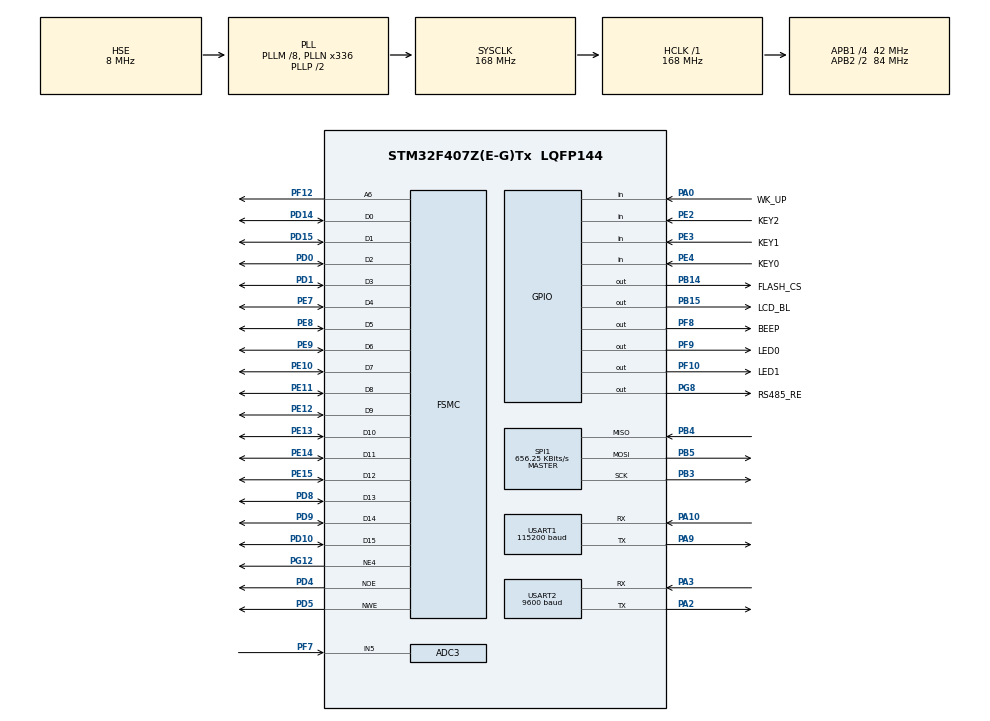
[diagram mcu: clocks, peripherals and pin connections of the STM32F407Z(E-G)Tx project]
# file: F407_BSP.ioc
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ADC3.Channel-0\#ChannelRegularConversion=ADC_CHANNEL_5
ADC3.DMAContinuousRequests=ENABLE
ADC3.ExternalTrigConv=ADC_EXTERNALTRIGCONV_T2_TRGO
ADC3.NbrOfConversionFlag=1
ADC3.Rank-0\#ChannelRegularConversion=1
ADC3.SamplingTime-0\#ChannelRegularConversion=ADC_SAMPLETIME_3CYCLES
Dma.ADC3.1.Direction=DMA_PERIPH_TO_MEMORY
Dma.ADC3.1.FIFOMode=DMA_FIFOMODE_DISABLE
Dma.ADC3.1.Instance=DMA2_Stream0
Dma.ADC3.1.MemDataAlignment=DMA_MDATAALIGN_HALFWORD
Dma.ADC3.1.MemInc=DMA_MINC_ENABLE
Dma.ADC3.1.Mode=DMA_CIRCULAR
Dma.ADC3.1.PeriphDataAlignment=DMA_PDATAALIGN_HALFWORD
Dma.ADC3.1.PeriphInc=DMA_PINC_DISABLE
Dma.ADC3.1.Priority=DMA_PRIORITY_LOW
Dma.Request0=USART1_RX
Dma.Request1=ADC3
Dma.Request2=USART2_RX
Dma.USART1_RX.0.Direction=DMA_PERIPH_TO_MEMORY
Dma.USART1_RX.0.FIFOMode=DMA_FIFOMODE_DISABLE
Dma.USART1_RX.0.Instance=DMA2_Stream2
Dma.USART1_RX.0.MemDataAlignment=DMA_MDATAALIGN_BYTE
Dma.USART1_RX.0.MemInc=DMA_MINC_ENABLE
Dma.USART1_RX.0.Mode=DMA_CIRCULAR
Dma.USART1_RX.0.PeriphDataAlignment=DMA_PDATAALIGN_BYTE
Dma.USART1_RX.0.PeriphInc=DMA_PINC_DISABLE
Dma.USART1_RX.0.Priority=DMA_PRIORITY_LOW
Dma.USART2_RX.2.Direction=DMA_PERIPH_TO_MEMORY
Dma.USART2_RX.2.FIFOMode=DMA_FIFOMODE_DISABLE
Dma.USART2_RX.2.Instance=DMA1_Stream5
Dma.USART2_RX.2.MemDataAlignment=DMA_MDATAALIGN_BYTE
Dma.USART2_RX.2.MemInc=DMA_MINC_ENABLE
Dma.USART2_RX.2.Mode=DMA_CIRCULAR
Dma.USART2_RX.2.PeriphDataAlignment=DMA_PDATAALIGN_BYTE
Dma.USART2_RX.2.PeriphInc=DMA_PINC_DISABLE
Dma.USART2_RX.2.Priority=DMA_PRIORITY_LOW
FSMC.AddressHoldTime4=0
FSMC.AddressSetupTime4=9
FSMC.DataSetupTime4=30
FSMC.ExtendedAddressHoldTime4=0
FSMC.ExtendedAddressSetupTime4=9
FSMC.ExtendedDataSetupTime4=9
FSMC.ExtendedMode4=FSMC_EXTENDED_MODE_ENABLE
Mcu.Family=STM32F4
Mcu.Name=STM32F407Z(E-G)Tx
Mcu.Package=LQFP144
NVIC.ADC_IRQn=true\:6\:0\:true\:false\:true\:true\:true\:true
NVIC.DMA1_Stream5_IRQn=true\:0\:0\:false\:false\:true\:false\:true\:true
NVIC.DMA2_Stream0_IRQn=true\:6\:0\:true\:false\:true\:false\:true\:true
NVIC.DMA2_Stream2_IRQn=true\:6\:0\:true\:false\:true\:false\:true\:true
NVIC.PriorityGroup=NVIC_PRIORITYGROUP_4
NVIC.TIM6_DAC_IRQn=true\:15\:0\:false\:false\:true\:false\:true\:true
NVIC.TimeBase=TIM6_DAC_IRQn
NVIC.TimeBaseIP=TIM6
NVIC.USART1_IRQn=true\:6\:0\:true\:false\:true\:true\:true\:true
NVIC.USART2_IRQn=true\:6\:0\:true\:false\:true\:true\:true\:true
PA0-WKUP.GPIO_Label=WK_UP
PA0-WKUP.GPIO_PuPd=GPIO_PULLDOWN
PA0-WKUP.Signal=GPIO_Input
PA10.Mode=Asynchronous
PA10.Signal=USART1_RX
PA13.Mode=Serial_Wire
PA13.Signal=SYS_JTMS-SWDIO
PA14.Mode=Serial_Wire
PA14.Signal=SYS_JTCK-SWCLK
PA2.Mode=Asynchronous
PA2.Signal=USART2_TX
PA3.Mode=Asynchronous
PA3.Signal=USART2_RX
PA9.Mode=Asynchronous
PA9.Signal=USART1_TX
PB14.GPIO_Label=FLASH_CS
PB14.PinState=GPIO_PIN_SET
PB14.Signal=GPIO_Output
PB15.GPIO_Label=LCD_BL
PB15.GPIO_Speed=GPIO_SPEED_FREQ_LOW
PB15.PinState=GPIO_PIN_RESET
PB15.Signal=GPIO_Output
PB3.Mode=Full_Duplex_Master
PB3.Signal=SPI1_SCK
PB4.Mode=Full_Duplex_Master
PB4.Signal=SPI1_MISO
PB5.Mode=Full_Duplex_Master
PB5.Signal=SPI1_MOSI
PD0.GPIO_Speed=GPIO_SPEED_FREQ_VERY_HIGH
PD0.Signal=FSMC_D2_DA2
PD1.GPIO_Speed=GPIO_SPEED_FREQ_VERY_HIGH
PD1.Signal=FSMC_D3_DA3
PD10.GPIO_Speed=GPIO_SPEED_FREQ_VERY_HIGH
PD10.Signal=FSMC_D15_DA15
PD14.GPIO_Speed=GPIO_SPEED_FREQ_VERY_HIGH
PD14.Signal=FSMC_D0_DA0
PD15.GPIO_Speed=GPIO_SPEED_FREQ_VERY_HIGH
PD15.Signal=FSMC_D1_DA1
PD4.GPIO_Speed=GPIO_SPEED_FREQ_VERY_HIGH
PD4.Signal=FSMC_NOE
PD5.GPIO_Speed=GPIO_SPEED_FREQ_VERY_HIGH
PD5.Signal=FSMC_NWE
PD8.GPIO_Speed=GPIO_SPEED_FREQ_VERY_HIGH
PD8.Signal=FSMC_D13_DA13
PD9.GPIO_Speed=GPIO_SPEED_FREQ_VERY_HIGH
PD9.Signal=FSMC_D14_DA14
PE10.GPIO_Speed=GPIO_SPEED_FREQ_VERY_HIGH
PE10.Signal=FSMC_D7_DA7
PE11.GPIO_Speed=GPIO_SPEED_FREQ_VERY_HIGH
PE11.Signal=FSMC_D8_DA8
PE12.GPIO_Speed=GPIO_SPEED_FREQ_VERY_HIGH
PE12.Signal=FSMC_D9_DA9
PE13.GPIO_Speed=GPIO_SPEED_FREQ_VERY_HIGH
PE13.Signal=FSMC_D10_DA10
PE14.GPIO_Speed=GPIO_SPEED_FREQ_VERY_HIGH
PE14.Signal=FSMC_D11_DA11
PE15.GPIO_Speed=GPIO_SPEED_FREQ_VERY_HIGH
PE15.Signal=FSMC_D12_DA12
PE2.GPIO_Label=KEY2
PE2.GPIO_PuPd=GPIO_PULLUP
PE2.Signal=GPIO_Input
PE3.GPIO_Label=KEY1
PE3.GPIO_PuPd=GPIO_PULLUP
PE3.Signal=GPIO_Input
PE4.GPIO_Label=KEY0
PE4.GPIO_PuPd=GPIO_PULLUP
PE4.Signal=GPIO_Input
PE7.GPIO_Speed=GPIO_SPEED_FREQ_VERY_HIGH
PE7.Signal=FSMC_D4_DA4
PE8.GPIO_Speed=GPIO_SPEED_FREQ_VERY_HIGH
PE8.Signal=FSMC_D5_DA5
PE9.GPIO_Speed=GPIO_SPEED_FREQ_VERY_HIGH
PE9.Signal=FSMC_D6_DA6
PF10.GPIO_Label=LED1
PF10.GPIO_Speed=GPIO_SPEED_FREQ_LOW
PF10.PinState=GPIO_PIN_SET
PF10.Signal=GPIO_Output
PF12.GPIO_Speed=GPIO_SPEED_FREQ_VERY_HIGH
PF12.Signal=FSMC_A6
PF7.Mode=IN5
PF7.Signal=ADC3_IN5
PF8.GPIO_Label=BEEP
PF8.GPIO_ModeDefaultOutputPP=GPIO_MODE_OUTPUT_PP
PF8.GPIO_PuPd=GPIO_NOPULL
PF8.PinState=GPIO_PIN_RESET
PF8.Signal=GPIO_Output
PF9.GPIO_Label=LED0
PF9.GPIO_Speed=GPIO_SPEED_FREQ_LOW
PF9.PinState=GPIO_PIN_SET
PF9.Signal=GPIO_Output
PG12.GPIO_Speed=GPIO_SPEED_FREQ_VERY_HIGH
PG12.Mode=NorPsramChipSelect4_4
PG12.Signal=FSMC_NE4
PG8.GPIO_Label=RS485_RE
PG8.Signal=GPIO_Output
PH0-OSC_IN.Mode=HSE-External-Oscillator
PH0-OSC_IN.Signal=RCC_OSC_IN
PH1-OSC_OUT.Mode=HSE-External-Oscillator
PH1-OSC_OUT.Signal=RCC_OSC_OUT
ProjectManager.HeapSize=0x200
ProjectManager.StackSize=0x400
ProjectManager.TargetToolchain=CMake
RCC.48MHZClocksFreq_Value=48000000
RCC.AHBFreq_Value=168000000
RCC.APB1CLKDivider=RCC_HCLK_DIV4
RCC.APB1Freq_Value=42000000
RCC.APB1TimFreq_Value=84000000
RCC.APB2CLKDivider=RCC_HCLK_DIV2
RCC.APB2Freq_Value=84000000
RCC.APB2TimFreq_Value=168000000
RCC.CortexFreq_Value=168000000
RCC.HCLKFreq_Value=168000000
RCC.HSE_VALUE=8000000
RCC.HSI_VALUE=16000000
RCC.LSE_VALUE=32768
RCC.PLLM=8
RCC.PLLN=336
RCC.PLLP=RCC_PLLP_DIV2
RCC.PLLQ=7
RCC.PLLSourceVirtual=RCC_PLLSOURCE_HSE
RCC.RCC_RTC_Clock_Source=RCC_RTCCLKSOURCE_LSI
RCC.RCC_RTC_Clock_SourceVirtual=RCC_RTCCLKSOURCE_LSI
RCC.RCC_RTC_Clock_Source_FROM_HSE=RCC_RTCCLKSOURCE_HSE_DIV8
RCC.SYSCLKFreq_VALUE=168000000
RCC.SYSCLKSource=RCC_SYSCLKSOURCE_PLLCLK
RCC.VCOOutputFreq_Value=336000000
SH.FSMC_A6.0=FSMC_A6,A6_4
SH.FSMC_D0_DA0.0=FSMC_D0,16b-d4
SH.FSMC_D10_DA10.0=FSMC_D10,16b-d4
SH.FSMC_D11_DA11.0=FSMC_D11,16b-d4
SH.FSMC_D12_DA12.0=FSMC_D12,16b-d4
SH.FSMC_D13_DA13.0=FSMC_D13,16b-d4
SH.FSMC_D14_DA14.0=FSMC_D14,16b-d4
SH.FSMC_D15_DA15.0=FSMC_D15,16b-d4
SH.FSMC_D1_DA1.0=FSMC_D1,16b-d4
SH.FSMC_D2_DA2.0=FSMC_D2,16b-d4
SH.FSMC_D3_DA3.0=FSMC_D3,16b-d4
SH.FSMC_D4_DA4.0=FSMC_D4,16b-d4
SH.FSMC_D5_DA5.0=FSMC_D5,16b-d4
SH.FSMC_D6_DA6.0=FSMC_D6,16b-d4
SH.FSMC_D7_DA7.0=FSMC_D7,16b-d4
SH.FSMC_D8_DA8.0=FSMC_D8,16b-d4
SH.FSMC_D9_DA9.0=FSMC_D9,16b-d4
SH.FSMC_NOE.0=FSMC_NOE,Lcd4
SH.FSMC_NWE.0=FSMC_NWE,Lcd4
SPI1.BaudRatePrescaler=SPI_BAUDRATEPRESCALER_128
SPI1.CLKPhase=SPI_PHASE_2EDGE
SPI1.CLKPolarity=SPI_POLARITY_HIGH
SPI1.CalculateBaudRate=656.25 KBits/s
SPI1.Direction=SPI_DIRECTION_2LINES
SPI1.Mode=SPI_MODE_MASTER
SPI1.VirtualType=VM_MASTER
TIM2.Period=99
TIM2.Prescaler=8399
TIM2.TIM_MasterOutputTrigger=TIM_TRGO_UPDATE
TIM2.TIM_MasterSlaveMode=TIM_MASTERSLAVEMODE_DISABLE
USART1.BaudRate=115200
USART1.VirtualMode=VM_ASYNC
USART2.BaudRate=9600
USART2.VirtualMode=VM_ASYNC
VP_SYS_VS_tim6.Mode=TIM6
VP_TIM2_VS_ClockSourceINT.Mode=Internal
board=custom

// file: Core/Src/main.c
/* USER CODE BEGIN Header */
/**
 ******************************************************************************
 * @file           : main.c
 * @brief          : Main program body
 ******************************************************************************
 * @attention
 *
 * Copyright (c) 2026 STMicroelectronics.
 * All rights reserved.
 *
 * This software is licensed under terms that can be found in the LICENSE file
 * in the root directory of this software component.
 * If no LICENSE file comes with this software, it is provided AS-IS.
 *
 ******************************************************************************
 */
/* USER CODE END Header */
#include "main.h"
#include "adc.h"
#include "dma.h"
#include "spi.h"
#include "tim.h"
#include "usart.h"
#include "gpio.h"
#include "fsmc.h"

/* USER CODE BEGIN Includes */
#include <stdio.h>

#include "BSP/LCD/lcd.h"
#include "BSP/LED/bsp_led.h"
#include "BSP/UART/bsp_uart.h"
#include "BSP/KEY/bsp_key.h"
#include "BSP/BEEP/bsp_beep.h"
#include "BSP/ADC/bsp_adc.h"
#include "BSP/FLASH/bsp_flash.h"
#include "BSP/RS485/bsp_rs485.h"
#include "Protocol/modbus_rtu.h"
#include "Protocol/modbus_crc.h"

#include "App/app_task.h"
#include "App/app_sensor.h"

/* USER CODE END Includes */

void SystemClock_Config(void);

int main(void)
{

  /* USER CODE BEGIN 1 */
  uint32_t display_count = 0;
  char lcd_id_text[24];
  /* USER CODE END 1 */

  /* MCU Configuration--------------------------------------------------------*/

  /* Reset of all peripherals, Initializes the Flash interface and the Systick. */
  HAL_Init();

  /* Configure the system clock */
  SystemClock_Config();

  /* Initialize all configured peripherals */
  MX_GPIO_Init();
  MX_DMA_Init();
  MX_FSMC_Init();
  MX_USART1_UART_Init();
  MX_ADC3_Init();
  MX_TIM2_Init();
  MX_SPI1_Init();
  MX_USART2_UART_Init();
  /* USER CODE BEGIN 2 */
  BSP_LED_Init();
  BSP_KEY_Init();
  BSP_BEEP_Init();
  if (BSP_ADC_Init() != HAL_OK)
  {
    Error_Handler();
  }

  /* 启动 DMA + IDLE 接收 */
  if (BSP_UART_Init() != HAL_OK)
  {
    Error_Handler();
  }

  BSP_UART_Print("USART1 DMA IDLE Ready\r\n");
  lcd_init();
  printf("LCD ID: 0x%04X\r\n", (unsigned int)lcddev.id);

  g_back_color = WHITE;
  lcd_clear(WHITE);
  lcd_put_text(1, 1, "STM32F407 Explorer", RED);
  lcd_put_text(2, 1, "LCD HAL template", BLUE);
  snprintf(lcd_id_text, sizeof(lcd_id_text), "LCD ID: %04X", (unsigned int)lcddev.id);
  lcd_put_text(3, 1, lcd_id_text, BLACK);
  lcd_put_text(4, 1, "Count: ", BLACK);

  BSP_LED_Init();
  BSP_RS485_Init();

  /* 启动 FreeRTOS 任务 */
  APP_Task_Init();

  /* USER CODE END 2 */

  /* Infinite loop */
  while (1)
  {

  }
}

void SystemClock_Config(void)
{
  RCC_OscInitTypeDef RCC_OscInitStruct = {0};
  RCC_ClkInitTypeDef RCC_ClkInitStruct = {0};

  /** Configure the main internal regulator output voltage
   */
  __HAL_RCC_PWR_CLK_ENABLE();
  __HAL_PWR_VOLTAGESCALING_CONFIG(PWR_REGULATOR_VOLTAGE_SCALE1);

  /** Initializes the RCC Oscillators according to the specified parameters
   * in the RCC_OscInitTypeDef structure.
   */
  RCC_OscInitStruct.OscillatorType = RCC_OSCILLATORTYPE_HSE;
  RCC_OscInitStruct.HSEState = RCC_HSE_ON;
  RCC_OscInitStruct.PLL.PLLState = RCC_PLL_ON;
  RCC_OscInitStruct.PLL.PLLSource = RCC_PLLSOURCE_HSE;
  RCC_OscInitStruct.PLL.PLLM = 8;
  RCC_OscInitStruct.PLL.PLLN = 336;
  RCC_OscInitStruct.PLL.PLLP = RCC_PLLP_DIV2;
  RCC_OscInitStruct.PLL.PLLQ = 7;
  if (HAL_RCC_OscConfig(&RCC_OscInitStruct) != HAL_OK)
  {
    Error_Handler();
  }

  /** Initializes the CPU, AHB and APB buses clocks
   */
  RCC_ClkInitStruct.ClockType = RCC_CLOCKTYPE_HCLK | RCC_CLOCKTYPE_SYSCLK | RCC_CLOCKTYPE_PCLK1 | RCC_CLOCKTYPE_PCLK2;
  RCC_ClkInitStruct.SYSCLKSource = RCC_SYSCLKSOURCE_PLLCLK;
  RCC_ClkInitStruct.AHBCLKDivider = RCC_SYSCLK_DIV1;
  RCC_ClkInitStruct.APB1CLKDivider = RCC_HCLK_DIV4;
  RCC_ClkInitStruct.APB2CLKDivider = RCC_HCLK_DIV2;

  if (HAL_RCC_ClockConfig(&RCC_ClkInitStruct, FLASH_LATENCY_5) != HAL_OK)
  {
    Error_Handler();
  }
}

void HAL_TIM_PeriodElapsedCallback(TIM_HandleTypeDef *htim)
{
  if (htim->Instance == TIM6)
  {
    HAL_IncTick();
  }
}

void Error_Handler(void)
{
  __disable_irq();
  while (1)
  {
  }
}
